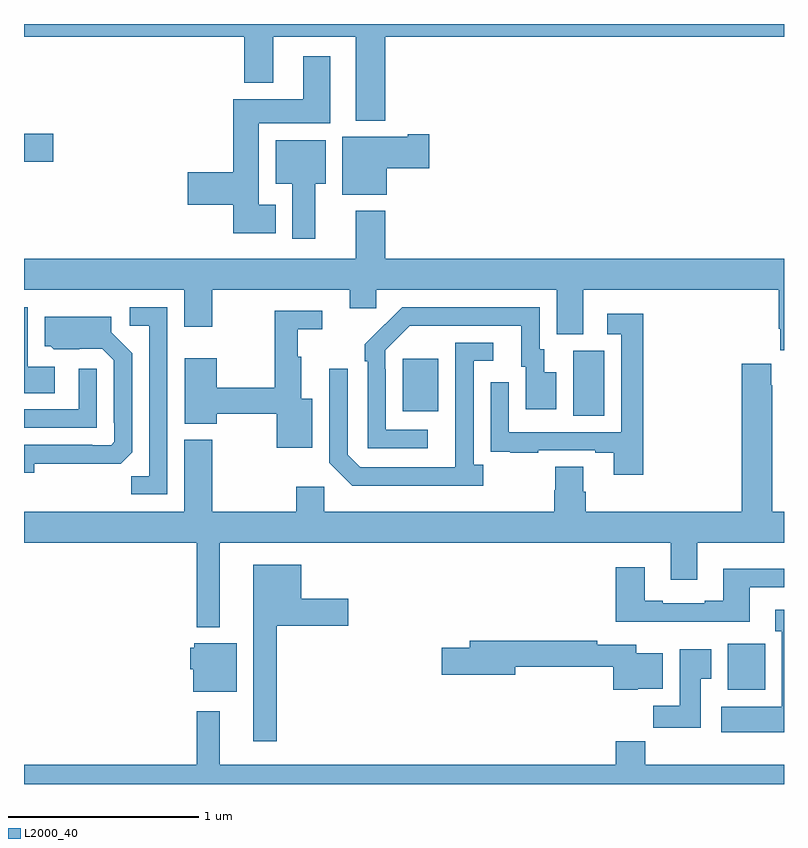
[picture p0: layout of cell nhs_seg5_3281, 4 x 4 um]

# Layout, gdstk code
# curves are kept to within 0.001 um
import gdstk
lib = gdstk.Library(unit=1e-6, precision=1e-09)
def R(c, l, rs):  # rectangles x0, y0, x1, y1
    for r in rs: c.add(gdstk.rectangle(r[:2], r[2:], *l))
def P(c, l, *ps):  # polygons
    for p in ps: c.add(gdstk.Polygon(p, *l))
L2000_40 = (2000, 40)

nhs_seg5_3281 = lib.new_cell('nhs_seg5_3281')
R(nhs_seg5_3281, L2000_40, [(304.703,881.294,304.9,881.536), (303.89,882.736,304.054,883.08), (302.993,882.761,303.181,883.036), (301,884.075,301.153,884.222)])
P(nhs_seg5_3281, L2000_40, [(302.9,884.732),(305,884.732),(305,884.799),(301,884.799),(301,884.732),(302.159,884.732),(302.159,884.489),(302.311,884.489),(302.311,884.732),(302.747,884.732),(302.747,884.291),(302.9,884.291)],
  [(302.326,883.849),(302.236,883.849),(302.236,884.276),(302.611,884.276),(302.611,884.629),(302.471,884.629),(302.471,884.404),(302.102,884.404),(302.102,884.018),(301.863,884.018),(301.863,883.847),(302.102,883.847),(302.102,883.697),(302.326,883.697)],
  [(302.908,884.041),(303.133,884.041),(303.133,884.219),(303.02,884.219),(303.02,884.206),(302.675,884.206),(302.675,883.901),(302.908,883.901)],
  [(302.533,883.958),(302.587,883.958),(302.587,884.188),(302.324,884.188),(302.324,883.958),(302.411,883.958),(302.411,883.668),(302.533,883.668)],
  [(305,883.564),(302.9,883.564),(302.9,883.816),(302.747,883.816),(302.747,883.564),(301,883.564),(301,883.4),(301.844,883.4),(301.844,883.206),(301.992,883.206),(301.992,883.4),(302.714,883.4),(302.714,883.302),(302.853,883.302),(302.853,883.4),(303.803,883.4),(303.803,883.165),(303.943,883.165),(303.943,883.4),(304.973,883.4),(304.973,883.195),(304.979,883.195),(304.979,883.083),(305,883.083)],
  [(301.162,882.996),(301.02,882.996),(301.02,883.308),(301,883.308),(301,882.856),(301.162,882.856)],
  [(303.124,882.663),(302.904,882.663),(302.904,882.983),(302.901,882.983),(302.901,883.083),(303.03,883.212),(303.617,883.212),(303.617,882.996),(303.641,882.996),(303.641,882.771),(303.802,882.771),(303.802,882.967),(303.739,882.967),(303.739,883.086),(303.714,883.086),(303.714,883.308),(302.99,883.308),(302.793,883.113),(302.793,883.025),(302.808,883.025),(302.808,882.567),(303.124,882.567)],
  [(301.755,883.308),(301.557,883.308),(301.557,883.212),(301.659,883.212),(301.659,882.419),(301.564,882.419),(301.564,882.324),(301.755,882.324)],
  [(302.518,882.826),(302.458,882.826),(302.458,883.048),(302.44,883.048),(302.44,883.193),(302.569,883.193),(302.569,883.29),(302.319,883.29),(302.319,882.884),(302.014,882.884),(302.014,883.039),(301.847,883.039),(301.847,882.695),(302.014,882.695),(302.014,882.748),(302.33,882.748),(302.33,882.569),(302.518,882.569)],
  [(304.259,883.273),(304.071,883.273),(304.071,883.167),(304.143,883.167),(304.143,882.651),(303.552,882.651),(303.552,882.913),(303.456,882.913),(303.456,882.658),(303.457,882.658),(303.457,882.549),(303.559,882.549),(303.559,882.543),(303.707,882.543),(303.707,882.555),(304.007,882.555),(304.007,882.543),(304.103,882.543),(304.103,882.426),(304.259,882.426)],
  [(301.053,882.484),(301.51,882.485),(301.569,882.544),(301.569,883.066),(301.459,883.176),(301.459,883.258),(301.109,883.258),(301.109,883.104),(301.14,883.104),(301.156,883.088),(301.413,883.089),(301.473,883.029),(301.473,882.7),(301.476,882.7),(301.476,882.6),(301.458,882.582),(301.358,882.582),(301.358,882.585),(301,882.585),(301,882.438),(301.053,882.438)],
  [(303.418,882.478),(303.366,882.478),(303.366,883.026),(303.469,883.026),(303.469,883.122),(303.27,883.122),(303.269,882.465),(302.769,882.465),(302.703,882.531),(302.703,882.985),(302.607,882.985),(302.607,882.489),(302.728,882.368),(303.418,882.368)],
  [(302.029,882.068),(304.403,882.068),(304.403,881.874),(304.543,881.874),(304.543,882.068),(305,882.068),(305,882.232),(304.938,882.232),(304.938,882.899),(304.933,882.899),(304.933,883.012),(304.778,883.012),(304.778,882.232),(303.956,882.232),(303.956,882.338),(303.943,882.338),(303.943,882.47),(303.796,882.47),(303.796,882.345),(303.791,882.345),(303.791,882.232),(302.58,882.232),(302.58,882.364),(302.434,882.364),(302.434,882.232),(301.992,882.232),(301.992,882.61),(301.844,882.61),(301.844,882.232),(301,882.232),(301,882.068),(301.908,882.068),(301.908,881.624),(302.029,881.624)],
  [(301.383,882.985),(301.287,882.985),(301.287,882.771),(301,882.771),(301,882.675),(301.383,882.675)],
  [(302.329,881.633),(302.707,881.633),(302.707,881.775),(302.458,881.775),(302.458,881.953),(302.207,881.953),(302.207,881.025),(302.329,881.025)],
  [(304.819,881.835),(305,881.835),(305,881.932),(304.679,881.932),(304.679,881.764),(304.583,881.764),(304.583,881.751),(304.363,881.751),(304.363,881.764),(304.267,881.764),(304.267,881.941),(304.115,881.941),(304.115,881.654),(304.819,881.654)],
  [(305,881.716),(304.955,881.716),(304.955,881.603),(304.988,881.603),(304.988,881.206),(304.671,881.206),(304.671,881.072),(305,881.072)],
  [(304.23,881.3),(304.363,881.3),(304.363,881.488),(304.222,881.488),(304.222,881.532),(304.016,881.532),(304.016,881.552),(303.347,881.552),(303.347,881.516),(303.198,881.516),(303.198,881.374),(303.586,881.374),(303.586,881.416),(304.1,881.416),(304.1,881.294),(304.23,881.294)],
  [(302.119,881.539),(301.896,881.539),(301.896,881.517),(301.874,881.517),(301.874,881.403),(301.892,881.403),(301.892,881.285),(302.119,881.285)],
  [(304.561,881.353),(304.618,881.353),(304.618,881.509),(304.451,881.509),(304.451,881.212),(304.312,881.212),(304.312,881.094),(304.561,881.094)],
  [(305,880.9),(304.271,880.9),(304.271,881.024),(304.115,881.024),(304.115,880.9),(302.029,880.9),(302.029,881.182),(301.908,881.182),(301.908,880.9),(301,880.9),(301,880.799),(305,880.799)])

lib.write_gds('nhs_seg5_3281.gds')
